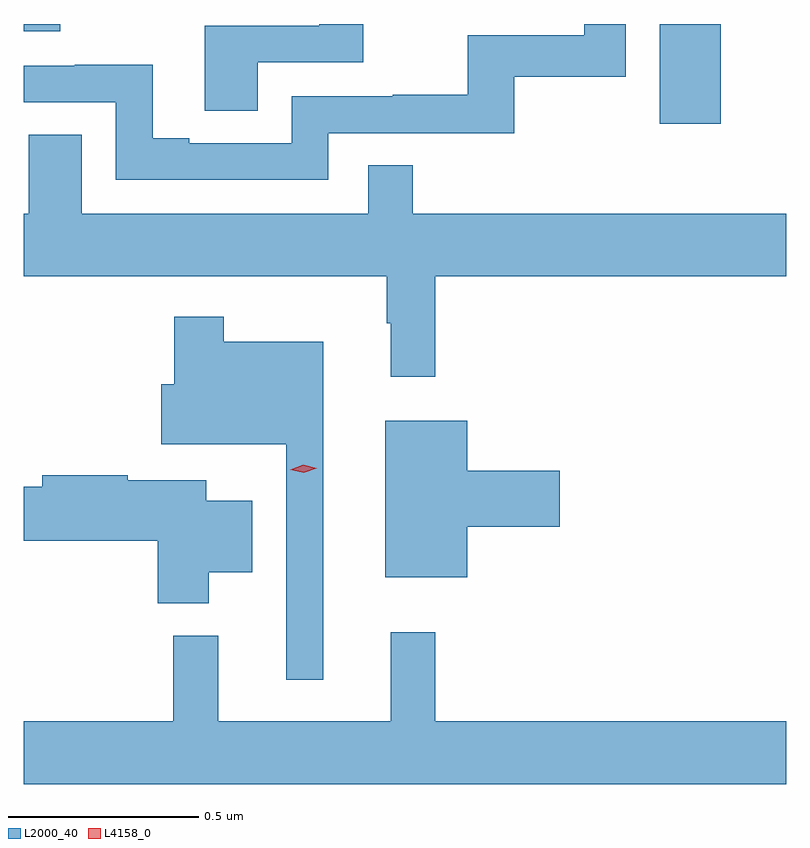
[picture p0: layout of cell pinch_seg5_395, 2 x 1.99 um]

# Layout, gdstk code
import gdstk
lib = gdstk.Library(unit=1e-6, precision=1e-09)
def R(c, l, rs):  # rectangles x0, y0, x1, y1
    for r in rs: c.add(gdstk.rectangle(r[:2], r[2:], *l))
def P(c, l, *ps):  # polygons
    for p in ps: c.add(gdstk.Polygon(p, *l))
L2000_40 = (2000, 40)
L4158_0 = (4158, 0)

pinch_seg5_395 = lib.new_cell('pinch_seg5_395')
R(pinch_seg5_395, L2000_40, [(975.407,871.812,975.568,872.074), (973.739,872.055,973.834,872.074)])
P(pinch_seg5_395, L2000_40, [(974.538,871.788),(975.025,871.788),(975.025,871.935),(975.318,871.935),(975.318,872.074),(975.209,872.074),(975.209,872.044),(974.904,872.044),(974.904,871.889),(974.707,871.889),(974.707,871.884),(974.442,871.884),(974.442,871.761),(974.173,871.761),(974.173,871.774),(974.077,871.774),(974.077,871.967),(973.872,871.967),(973.872,871.965),(973.739,871.965),(973.739,871.869),(973.98,871.869),(973.98,871.665),(974.538,871.665)],
  [(974.353,871.974),(974.63,871.974),(974.63,872.074),(974.514,872.074),(974.514,872.07),(974.213,872.07),(974.213,871.846),(974.353,871.846)],
  [(974.819,871.412),(975.739,871.412),(975.739,871.576),(974.759,871.576),(974.759,871.703),(974.643,871.703),(974.643,871.576),(973.891,871.576),(973.891,871.784),(973.752,871.784),(973.752,871.576),(973.739,871.576),(973.739,871.412),(974.691,871.412),(974.691,871.289),(974.702,871.289),(974.702,871.149),(974.819,871.149)],
  [(974.524,871.24),(974.263,871.24),(974.263,871.306),(974.134,871.306),(974.134,871.129),(974.1,871.129),(974.1,870.971),(974.427,870.971),(974.427,870.354),(974.524,870.354)],
  [(974.902,870.755),(975.145,870.755),(975.145,870.902),(974.902,870.902),(974.902,871.033),(974.687,871.033),(974.687,870.623),(974.902,870.623)],
  [(974.224,870.635),(974.338,870.635),(974.338,870.823),(974.218,870.823),(974.218,870.877),(974.012,870.877),(974.012,870.89),(973.787,870.89),(973.787,870.86),(973.739,870.86),(973.739,870.718),(974.09,870.718),(974.09,870.554),(974.224,870.554)],
  [(975.739,870.244),(974.819,870.244),(974.819,870.478),(974.702,870.478),(974.702,870.244),(974.249,870.244),(974.249,870.469),(974.131,870.469),(974.131,870.244),(973.739,870.244),(973.739,870.08),(975.739,870.08)])
P(pinch_seg5_395, L4158_0, [(974.473,870.897),(974.438,870.905),(974.437,870.905),(974.438,870.905),(974.472,870.917),(974.508,870.909),(974.508,870.909),(974.508,870.909)])

lib.write_gds('pinch_seg5_395.gds')
